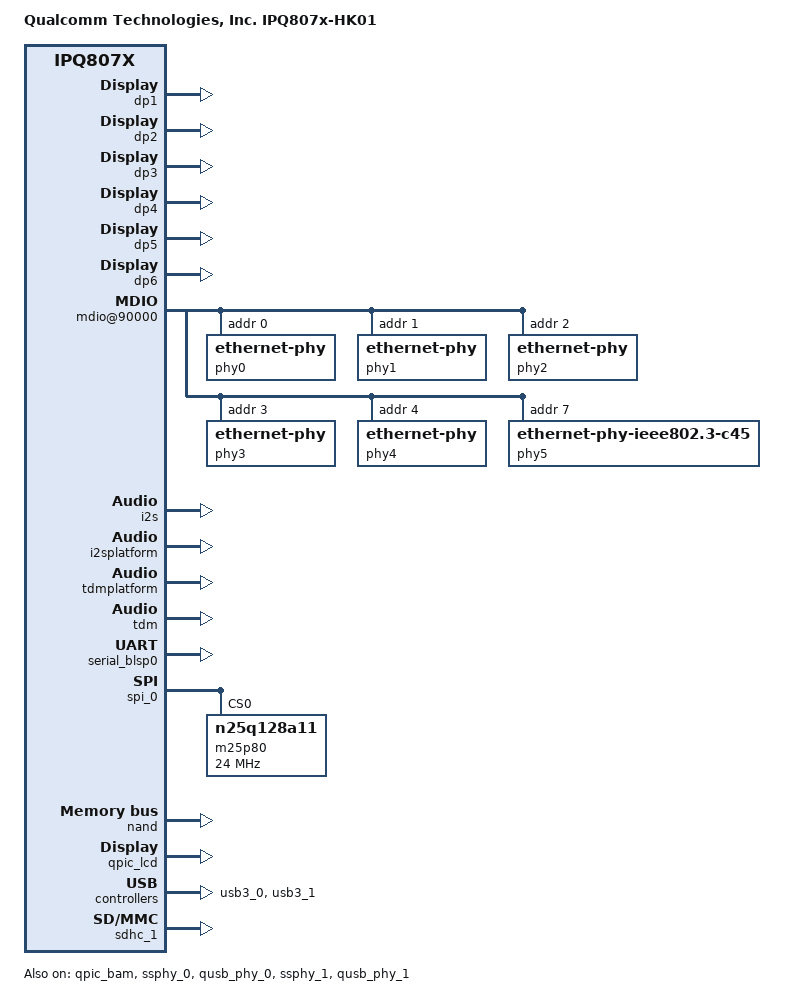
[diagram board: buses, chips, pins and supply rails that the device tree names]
/dts-v1/;
/*
 * Copyright (c) 2016-2017, The Linux Foundation. All rights reserved.
 *
 * Permission to use, copy, modify, and/or distribute this software for any
 * purpose with or without fee is hereby granted, provided that the above
 * copyright notice and this permission notice appear in all copies.
 *
 * THE SOFTWARE IS PROVIDED "AS IS" AND THE AUTHOR DISCLAIMS ALL WARRANTIES
 * WITH REGARD TO THIS SOFTWARE INCLUDING ALL IMPLIED WARRANTIES OF
 * MERCHANTABILITY AND FITNESS. IN NO EVENT SHALL THE AUTHOR BE LIABLE FOR
 * ANY SPECIAL, DIRECT, INDIRECT, OR CONSEQUENTIAL DAMAGES OR ANY DAMAGES
 * WHATSOEVER RESULTING FROM LOSS OF USE, DATA OR PROFITS, WHETHER IN AN
 * ACTION OF CONTRACT, NEGLIGENCE OR OTHER TORTIOUS ACTION, ARISING OUT OF
 * OR IN CONNECTION WITH THE USE OR PERFORMANCE OF THIS SOFTWARE.
 */
#include "qcom-ipq807x-soc.dtsi"
#include "qcom-ipq807x-spmi-regulator.dtsi"

#include "qcom-ipq807x-coresight.dtsi"
/ {
	#address-cells = <0x2>;
	#size-cells = <0x2>;
	model = "Qualcomm Technologies, Inc. IPQ807x-HK01";
	compatible = "qcom,ipq807x-hk01", "qcom,ipq807x";
	qcom,msm-id = <0x125 0x0>;
	interrupt-parent = <&intc>;
	qcom,board-id = <0x10 0x0>;

	aliases {
		sdhc1 = &sdhc_1; /* SDC1 eMMC slot */
		sdhc2 = &sdhc_2; /* SDC2 SD slot */
	};

	chosen {
		bootargs = "console=ttyMSM0,115200,n8 root=/dev/ram0 rw init=/init";
		bootargs-append = " clk_ignore_unused";
	};
};

	&CPU0 {
		operating-points-v2 = <&cpu0_opp_table>;
		voltage-tolerance = <1>;
		cpu0-supply = <&s3>;
	};

	&CPU1 {
		operating-points-v2 = <&cpu0_opp_table>;
		voltage-tolerance = <1>;
		cpu-supply = <&s3>;
	};

	&CPU2 {
		operating-points-v2 = <&cpu0_opp_table>;
		voltage-tolerance = <1>;
		cpu-supply = <&s3>;
	};

	&CPU3 {
		operating-points-v2 = <&cpu0_opp_table>;
		voltage-tolerance = <1>;
		cpu-supply = <&s3>;
	};

	&cpus {
		cpu0_opp_table: opp_table0 {
			compatible = "operating-points-v2";
			opp-shared;

			opp00 {
				opp-hz = /bits/ 64 <1036800000>;
				opp-microvolt = <670000>;
				clock-latency-ns = <200000>;
			};
			opp01 {
				opp-hz = /bits/ 64 <1689600000>;
				opp-microvolt = <735000>;
				clock-latency-ns = <200000>;
			};
			opp02 {
				opp-hz = /bits/ 64 <1843200000>;
				opp-microvolt = <800000>;
				clock-latency-ns = <200000>;
			};
			opp03 {
				opp-hz = /bits/ 64 <1958400000>;
				opp-microvolt = <850000>;
				clock-latency-ns = <200000>;
			};
			opp04 {
				opp-hz = /bits/ 64 <2016000000>;
				opp-microvolt = <905000>;
				clock-latency-ns = <200000>;
			};
			opp05 {
				opp-hz = /bits/ 64 <2208000000>;
				opp-microvolt = <990000>;
				clock-latency-ns = <200000>;
			};
		};
	};


&soc {
	dp1 {
		device_type = "network";
		compatible = "qcom,nss-dp";
		qcom,id = <1>;
		reg = <0x3a001000 0x200>;
		qcom,mactype = <0>;
		local-mac-address = [000000000000];
		qcom,forced-speed = <1000>;
	};

	dp2 {
		device_type = "network";
		compatible = "qcom,nss-dp";
		qcom,id = <2>;
		reg = <0x3a001200 0x200>;
		qcom,mactype = <0>;
		local-mac-address = [000000000000];
		qcom,forced-speed = <1000>;
	};

	dp3 {
		device_type = "network";
		compatible = "qcom,nss-dp";
		qcom,id = <3>;
		reg = <0x3a001400 0x200>;
		qcom,mactype = <0>;
		local-mac-address = [000000000000];
		qcom,forced-speed = <1000>;
	};

	dp4 {
		device_type = "network";
		compatible = "qcom,nss-dp";
		qcom,id = <4>;
		reg = <0x3a001600 0x200>;
		qcom,mactype = <0>;
		local-mac-address = [000000000000];
		qcom,forced-speed = <1000>;
	};

	dp5 {
		device_type = "network";
		compatible = "qcom,nss-dp";
		qcom,id = <5>;
		reg = <0x3a003000 0x3fff>;
		qcom,mactype = <1>;
		local-mac-address = [000000000000];
		qcom,forced-speed = <10000>;
	};

	dp6 {
		device_type = "network";
		compatible = "qcom,nss-dp";
		qcom,id = <6>;
		reg = <0x3a007000 0x3fff>;
		qcom,mactype = <1>;
		local-mac-address = [000000000000];
		qcom,forced-speed = <10000>;
	};

	serial_blsp2: serial@78B1000 {
			compatible = "qcom,msm-uartdm-v1.4", "qcom,msm-uartdm";
			reg = <0x78B1000 0x200>;
			interrupts = <0x0 306 0x0>;
			clocks = <&gcc GCC_DUMMY_CLK>,
				 <&gcc GCC_DUMMY_CLK>;
			clock-names = "core", "iface";
			dmas = <&blsp_dma 4>,
				 <&blsp_dma 5>;
			dma-names = "tx", "rx";

			pinctrl-0 = <&hsuart_pins>;
			pinctrl-names = "default";
			status = "disabled";
	};

	spi_2: spi@78b8000 { /* BLSP1 QUP3 */
			compatible = "qcom,spi-qup-v2.2.1";
			#address-cells = <1>;
			#size-cells = <0>;
			reg = <0x78b8000 0x600>;
			interrupts = <0 98 0>;
			spi-max-frequency = <24000000>;
			clocks = <&gcc GCC_DUMMY_CLK>,
				<&gcc GCC_DUMMY_CLK>;
			clock-names = "core", "iface";
			dmas = <&blsp_dma 18>, <&blsp_dma 19>;
			dma-names = "tx", "rx";
			pinctrl-0 = <&spi_2_pins>;
			pinctrl-names = "default";
			status = "disabled";
	};

	mdio@90000 {
		#address-cells = <1>;
		#size-cells = <1>;
		compatible = "qcom,ipq40xx-mdio";
		reg = <0x90000 0x64>;
		phy0: ethernet-phy@0 {
			reg = <0>;
		};
		phy1: ethernet-phy@1 {
			reg = <1>;
		};
		phy2: ethernet-phy@2 {
			reg = <2>;
		};
		phy3: ethernet-phy@3 {
			reg = <3>;
		};
		phy4: ethernet-phy@4 {
			reg = <4>;
		};
		phy5: ethernet-phy@5 {
			compatible ="ethernet-phy-ieee802.3-c45";
			reg = <7>;
		};
	};

	ess-switch@3a000000 {
		reg = <0x3a000000 0x1000000>;
		switch_access_mode = "local bus";
		switch_cpu_bmp = <0x1>;  /* cpu port bitmap */
		switch_lan_bmp = <0x3e>; /* lan port bitmap */
		switch_wan_bmp = <0x40>; /* wan port bitmap */
		switch_mac_mode = <0x0>; /* mac mode for uniphy instance0*/
		switch_mac_mode1 = <0xff>; /* mac mode for uniphy instance1*/
		switch_mac_mode2 = <0xd>; /* mac mode for uniphy instance2*/
		bm_tick_mode = <0>; /* bm tick mode */
		tm_tick_mode = <0>; /* tm tick mode */
		port_scheduler_resource {
			port@0 {
				port_id = <0>;
				ucast_queue = <0 143>;
				mcast_queue = <256 271>;
				l0sp = <0 35>;
				l0cdrr = <0 47>;
				l0edrr = <0 47>;
				l1cdrr = <0 7>;
				l1edrr = <0 7>;
			};
			port@1 {
				port_id = <1>;
				ucast_queue = <144 159>;
				mcast_queue = <272 275>;
				l0sp = <36 39>;
				l0cdrr = <48 63>;
				l0edrr = <48 63>;
				l1cdrr = <8 11>;
				l1edrr = <8 11>;
			};
			port@2 {
				port_id = <2>;
				ucast_queue = <160 175>;
				mcast_queue = <276 279>;
				l0sp = <40 43>;
				l0cdrr = <64 79>;
				l0edrr = <64 79>;
				l1cdrr = <12 15>;
				l1edrr = <12 15>;
			};
			port@3 {
				port_id = <3>;
				ucast_queue = <176 191>;
				mcast_queue = <280 283>;
				l0sp = <44 47>;
				l0cdrr = <80 95>;
				l0edrr = <80 95>;
				l1cdrr = <16 19>;
				l1edrr = <16 19>;
			};
			port@4 {
				port_id = <4>;
				ucast_queue = <192 207>;
				mcast_queue = <284 287>;
				l0sp = <48 51>;
				l0cdrr = <96 111>;
				l0edrr = <96 111>;
				l1cdrr = <20 23>;
				l1edrr = <20 23>;
			};
			port@5 {
				port_id = <5>;
				ucast_queue = <208 223>;
				mcast_queue = <288 291>;
				l0sp = <52 55>;
				l0cdrr = <112 127>;
				l0edrr = <112 127>;
				l1cdrr = <24 27>;
				l1edrr = <24 27>;
			};
			port@6 {
				port_id = <6>;
				ucast_queue = <224 239>;
				mcast_queue = <292 295>;
				l0sp = <56 59>;
				l0cdrr = <128 143>;
				l0edrr = <128 143>;
				l1cdrr = <28 31>;
				l1edrr = <28 31>;
			};
			port@7 {
				port_id = <7>;
				ucast_queue = <240 255>;
				mcast_queue = <296 299>;
				l0sp = <60 63>;
				l0cdrr = <144 159>;
				l0edrr = <144 159>;
				l1cdrr = <32 35>;
				l1edrr = <32 35>;
			};
		};
		port_scheduler_config {
			port@0 {
				port_id = <0>;
				l1scheduler {
					group@0 {
						sp = <0 1>; /*L0 SPs*/
						/*cpri cdrr epri edrr*/
						cfg = <0 0 0 0>;
					};
				};
				l0scheduler {
					group@0 {
						/*unicast queues*/
						ucast_queue = <0 4 8>;
						/*multicast queues*/
						mcast_queue = <256 260>;
						/*sp cpri cdrr epri edrr*/
						cfg = <0 0 0 0 0>;
					};
					group@1 {
						ucast_queue = <1 5 9>;
						mcast_queue = <257 261>;
						cfg = <0 1 1 1 1>;
					};
					group@2 {
						ucast_queue = <2 6 10>;
						mcast_queue = <258 262>;
						cfg = <0 2 2 2 2>;
					};
					group@3 {
						ucast_queue = <3 7 11>;
						mcast_queue = <259 263>;
						cfg = <0 3 3 3 3>;
					};
				};
			};
			port@1 {
				port_id = <1>;
				l1scheduler {
					group@0 {
						sp = <36>;
						cfg = <0 8 0 8>;
					};
				};
				l0scheduler {
					group@0 {
						ucast_queue = <144>;
						mcast_queue = <272>;
						cfg = <36 0 48 0 48>;
					};
				};
			};
			port@2 {
				port_id = <2>;
				l1scheduler {
					group@0 {
						sp = <40>;
						cfg = <0 12 0 12>;
					};
				};
				l0scheduler {
					group@0 {
						ucast_queue = <160>;
						mcast_queue = <276>;
						cfg = <40 0 64 0 64>;
					};
				};
			};
			port@3 {
				port_id = <3>;
				l1scheduler {
					group@0 {
						sp = <44>;
						cfg = <0 16 0 16>;
					};
				};
				l0scheduler {
					group@0 {
						ucast_queue = <176>;
						mcast_queue = <280>;
						cfg = <44 0 80 0 80>;
					};
				};
			};
			port@4 {
				port_id = <4>;
				l1scheduler {
					group@0 {
						sp = <48>;
						cfg = <0 20 0 20>;
					};
				};
				l0scheduler {
					group@0 {
						ucast_queue = <192>;
						mcast_queue = <284>;
						cfg = <48 0 96 0 96>;
					};
				};
			};
			port@5 {
				port_id = <5>;
				l1scheduler {
					group@0 {
						sp = <52>;
						cfg = <0 24 0 24>;
					};
				};
				l0scheduler {
					group@0 {
						ucast_queue = <208>;
						mcast_queue = <288>;
						cfg = <52 0 112 0 112>;
					};
				};
			};
			port@6 {
				port_id = <6>;
				l1scheduler {
					group@0 {
						sp = <56>;
						cfg = <0 28 0 28>;
					};
				};
				l0scheduler {
					group@0 {
						ucast_queue = <224>;
						mcast_queue = <292>;
						cfg = <56 0 128 0 128>;
					};
				};
			};
			port@7 {
				port_id = <7>;
				l1scheduler {
					group@0 {
						sp = <60>;
						cfg = <0 32 0 32>;
					};
				};
				l0scheduler {
					group@0 {
						ucast_queue = <240>;
						mcast_queue = <296>;
						cfg = <60 0 144 0 144>;
					};
				};
			};
		};
	};

	ess-uniphy@7a00000 {
		compatible = "qcom,ess-uniphy";
		reg = <0x7a00000 0x30000>;
		uniphy_access_mode = "local bus";
	};

	audio: audio@7700000 {
		status = "ok";
	};

	mbox0: mbox@7708000 {
		status = "ok";
	};

	mbox3: mbox@770e000 {
		status = "ok";
	};

	stereo0: stereo@7709000 {
		status = "ok";
	};

	stereo3: stereo@770f000 {
		status = "ok";
	};

	/* Enable Audio Interfaces */
	i2s: ipq8074-pcm-i2s@0 {
		status = "ok";
	};

	i2splatform: qca-pcm-i2s@7709000 {
		status = "ok";
	};

	tdmplatform: qca-pcm-tdm@7709000 {
		status = "ok";
	};

	tdm: tdm@0 {
		status = "ok";
	};

	sound: sound@0 {
		pinctrl-0 = <&audio_gpio_pins>;
		pinctrl-1 = <&audio_pins>;
		pinctrl-names = "default", "audio";
		status = "ok";
	};

	/* Enable VOIP Interfaces */
	pcm: pcm@7704000 {
		status = "ok";
	};

	pcm_lb: pcm_lb@0 {
		status = "ok";
		pinctrl-0 = <&voip_pins>;
		pinctrl-names = "default";
	};
};

&tlmm {
	hsuart_pins: hsuart_pins {
		mux {
			pins = "gpio46", "gpio47", "gpio48", "gpio49";
			function = "blsp2_uart";
			bias-disable;
		};
	};

	uart_pins: uart_pins {
		mux {
			pins = "gpio23", "gpio24";
			function = "blsp4_uart1";
			bias-disable;
		};
	};

	spi_2_pins: spi_2_pinmux {
				mux {
					pins = "gpio50", "gpio51", "gpio52", "gpio52";
					function = "blsp3_spi";
					bias-disable;
				};
	};

	i2c_0_pins: i2c_0_pinmux {
				mux {
					pins = "gpio42", "gpio43";
					function = "blsp1_i2c";
					bias-disable;
				};
	};

	audio_gpio_pins: audio_gpio_pinmux {
		mux_1 {
			pins = "gpio25";
			function = "gpio";
			bias-pull,up;
			output-high;
		};

		mux_2 {
			pins = "gpio26";
			function = "gpio";
			bias-pull,up;
			output-high;
		};

		mux_3 {
			pins = "gpio27";
			function = "gpio";
			bias-pull,up;
			output-high;
		};

		mux_4 {
			pins = "gpio28";
			function = "gpio";
			bias-pull,up;
			output-high;
		};

		mux_5 {
			pins = "gpio29";
			function = "gpio";
			bias-pull,up;
			output-high;
		};

		mux_6 {
			pins = "gpio30";
			function = "gpio";
			bias-pull,up;
			output-high;
		};

		mux_7 {
			pins = "gpio31";
			function = "gpio";
			bias-pull,up;
			output-high;
		};

		mux_8 {
			pins = "gpio32";
			function = "gpio";
			bias-pull,up;
			output-high;
		};
	};

	audio_pins: audio_pinmux {
		mux_1 {
			pins = "gpio25";
			function = "audio_txmclk";
			bias-pull,up;
		};

		mux_2 {
			pins = "gpio26";
			function = "audio_txbclk";
			bias-pull,up;
		};

		mux_3 {
			pins = "gpio27";
			function = "audio_txfsync";
			bias-pull,up;
		};

		mux_4 {
			pins = "gpio28";
			function = "audio_txd";
			bias-pull,up;
		};

		mux_5 {
			pins = "gpio29";
			function = "audio_rxmclk";
			bias-pull,up;
		};

		mux_6 {
			pins = "gpio30";
			function = "audio_rxbclk";
			bias-pull,up;
		};

		mux_7 {
			pins = "gpio31";
			function = "audio_rxfsync";
			bias-pull,up;
		};

		mux_8 {
			pins = "gpio32";
			function = "audio_rxd";
			bias-pull,up;
		};
	};

	voip_pins: voip_pinmux {
		mux_1 {
			pins = "gpio33";
			function = "pcm_drx";
			bias-pull,up;
		};

		mux_2 {
			pins = "gpio34";
			function = "pcm_dtx";
			bias-pull,up;
		};

		mux_3 {
			pins = "gpio35";
			function = "pcm_fsync";
			bias-pull,up;
		};

		mux_4 {
			pins = "gpio36";
			function = "pcm_pclk";
			bias-pull,up;
		};
	};

	spi_0_pins: spi_0_pins {
		mux {
			pins = "gpio38", "gpio39", "gpio40", "gpio41";
			function = "blsp0_spi";
			bias-disable;
		};
	};
};

&q6v5_wcss {
	qca,emulation = <1>;
};

&serial_blsp4 {
	pinctrl-0 = <&uart_pins>;
	pinctrl-names = "default";
	status = "disabled";
};

&serial_blsp0 {
	status = "ok";
};

&spi_0 { /* BLSP1 QUP1 */
	#pinctrl-0 = <&spi_0_pins>;
	#pinctrl-names = "default";
	status = "ok";

	m25p80@0 {
		#address-cells = <1>;
		#size-cells = <1>;
		reg = <0>;
		compatible = "n25q128a11";
		linux,modalias = "m25p80", "n25q128a11";
		spi-max-frequency = <24000000>;
		use-default-sizes;
	};
};

&i2c_0 {
	pinctrl-0 = <&i2c_0_pins>;
	pinctrl-names = "default";
	status = "disabled";
};

&qpic_bam {
	clocks = <&gcc GCC_DUMMY_CLK>;
	clock-names = "bam_clk";
	status = "ok";
};

&nand {
	clocks = <&gcc GCC_DUMMY_CLK>,
		<&gcc GCC_DUMMY_CLK>;
	clock-names = "core", "aon";
	status = "ok";
};

&qpic_lcd {
	clocks = <&gcc GCC_DUMMY_CLK>,
		<&gcc GCC_DUMMY_CLK>;
	clock-names = "core", "aon";
	status = "ok";
};

&qpic_lcd_panel {
	status = "ok";
};

&ssphy_0 {
	qcom,emulation = <1>;
	status = "ok";
};

&qusb_phy_0 {
	qcom,emulation = <1>;
	status = "ok";
};

&ssphy_1 {
	qcom,emulation = <1>;
	status = "ok";
};

&qusb_phy_1 {
	qcom,emulation = <1>;
	status = "ok";
};

&dwc_0 {
	dr_mode = "peripheral";
};

&usb3_0 {
	status = "ok";
};

&usb3_1 {
	status = "ok";
};

&sdhc_1 {
	qcom,clk-rates = <400000 25000000 50000000 100000000 \
			 192000000 384000000>;
	qcom,bus-speed-mode = "DDR_1p8v";
	qcom,nonremovable;
	qcom,emulation = <1>;
	status = "ok";
};

&sdhc_2 {
	qcom,clk-rates = <400000 25000000 50000000 100000000 \
			 192000000 384000000>;
	qcom,bus-speed-mode = "HS200_1p8v", "DDR_1p8v";
	qcom,emulation = <1>;
	status = "disabled";
};
